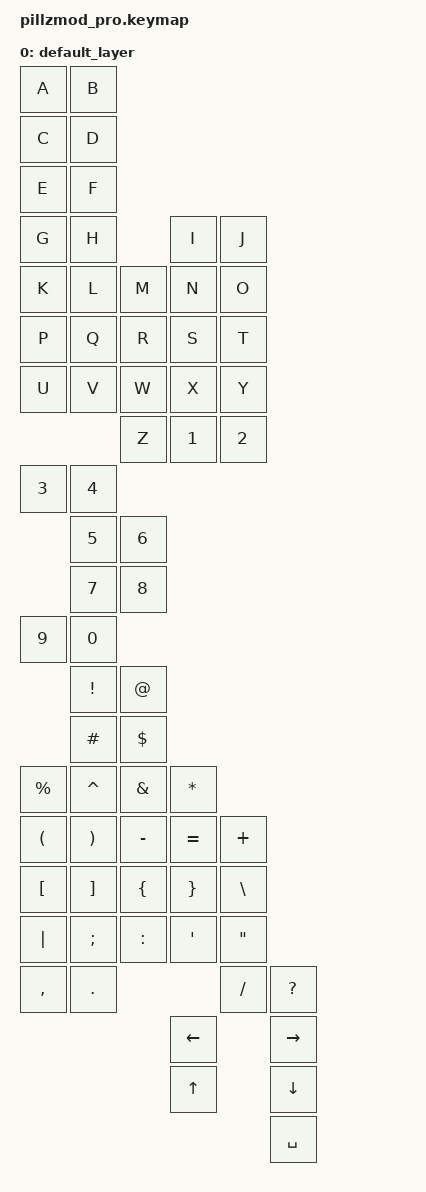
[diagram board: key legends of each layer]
#include <behaviors.dtsi>
#include <dt-bindings/zmk/keys.h>

/ {
    combos {
        compatible = "zmk,combos";

        /* Press key 0 and key 1 together to unlock ZMK Studio */
        combo_studio_unlock {
            timeout-ms = <50>;
            key-positions = <0 1>;
            bindings = <&studio_unlock>;
        };

        /* Press key 0 and key 2 together to enter UF2 bootloader mode */
        combo_bootloader {
            timeout-ms = <50>;
            key-positions = <0 2>;
            bindings = <&bootloader>;
        };
    };

    keymap {
        compatible = "zmk,keymap";

        default_layer {
            bindings = <
                &kp A    &kp B
                &kp C    &kp D
                &kp E    &kp F
                &kp G    &kp H             &kp I    &kp J
                &kp K    &kp L    &kp M    &kp N    &kp O
                &kp P    &kp Q    &kp R    &kp S    &kp T
                &kp U    &kp V    &kp W    &kp X    &kp Y
                                  &kp Z    &kp N1   &kp N2

                &kp N3   &kp N4
                         &kp N5   &kp N6
                         &kp N7   &kp N8

                &kp N9   &kp N0
                         &kp EXCL &kp AT
                         &kp HASH &kp DLLR

                &kp PERCENT &kp CARET &kp AMPS &kp STAR
                &kp LPAR    &kp RPAR  &kp MINUS &kp EQUAL &kp PLUS
                &kp LBKT    &kp RBKT  &kp LBRC  &kp RBRC  &kp BSLH
                &kp PIPE    &kp SEMI  &kp COLON &kp SQT   &kp DQT
                &kp COMMA   &kp DOT            &kp FSLH  &kp QUESTION
                                               &kp LEFT  &kp RIGHT
                                               &kp UP    &kp DOWN
                                                         &kp SPACE
            >;
        };
    };
};
